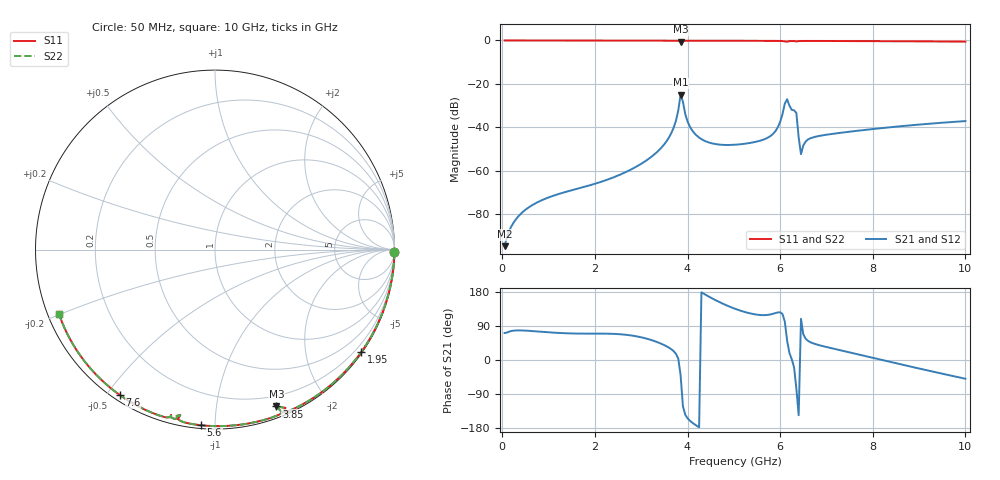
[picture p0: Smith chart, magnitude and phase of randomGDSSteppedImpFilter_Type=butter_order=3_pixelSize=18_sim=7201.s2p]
! freq	dB(S11)	phase(S11)	dB(S12)	phase(S12)
!  dB(S21)	phase(S21)	dB(S22)	phase(S22)
!S-par simulation data
#  GHz  S  DB  R 50
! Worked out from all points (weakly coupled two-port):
!   200 points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, 50 MHz to 10 GHz, reference 50 ohm
!   highest |S21| = -24.99 dB at 3.85 GHz (marker M1); lowest = -94.7 dB at 50 MHz (marker M2)
!   lowest |S11| = -0.6 dB at 3.85 GHz (marker M3), VSWR 31.58, Z = 4.97 - j73 ohm
!   |S11| at or under -10 dB: nowhere
!   |S22| runs from -0.6 to 0.0 dB; largest |S21 - S12| = 0
!   S11 on the Smith chart (normalised r, x): 50 MHz: open; 1.95 GHz: 0.03, -3.17; 3.85 GHz: 0.10, -1.46; 5.6 GHz: 0.02, -0.92; 7.6 GHz: 0.02, -0.54; 10 GHz: 0.03, -0.20
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0.05  -0.00 -0.9  -94.67 71.3  -94.67 71.3  -0.00 -0.9
0.4  -0.01 -7.3  -79.77 78.1  -79.77 78.1  -0.01 -7.3
1.75  -0.04 -31.5  -67.48 69.6  -67.48 69.6  -0.04 -31.5
1.95  -0.04 -35.0  -66.28 69.6  -66.28 69.6  -0.04 -35.0
2.8  -0.06 -49.7  -59.16 64.5  -59.16 64.5  -0.06 -49.7
3.4  -0.08 -59.8  -50.15 44.6  -50.15 44.6  -0.08 -59.9
3.7  -0.10 -65.2  -40.17 23.3  -40.17 23.3  -0.10 -65.2
3.8  -0.17 -67.6  -32.21 3.6  -32.21 3.6  -0.17 -67.6
3.85  -0.55 -68.6  -24.99 -39.7  -24.99 -39.7  -0.55 -68.6
4  -0.12 -68.7  -37.28 -153.8  -37.28 -153.8  -0.12 -68.7
4.2  -0.11 -72.3  -43.82 -173.8  -43.82 -173.8  -0.11 -72.3
5.05  -0.13 -85.9  -47.95 134.1  -47.95 134.1  -0.13 -85.9
5.6  -0.16 -94.5  -45.92 118.5  -45.92 118.5  -0.16 -94.5
5.9  -0.19 -99.3  -41.67 123.9  -41.67 123.9  -0.19 -99.3
6.15  -0.52 -101.8  -27.05 51.6  -27.05 51.6  -0.51 -101.9
6.35  -0.43 -104.9  -33.36 -75.1  -33.36 -75.1  -0.45 -104.9
6.45  -0.24 -105.9  -52.33 108.6  -52.33 108.6  -0.24 -105.9
6.55  -0.22 -107.7  -46.51 56.2  -46.51 56.2  -0.22 -107.7
6.7  -0.22 -110.1  -44.68 44.6  -44.68 44.6  -0.22 -110.1
7.6  -0.28 -123.2  -41.73 17.2  -41.73 17.2  -0.28 -123.2
8.35  -0.34 -133.9  -39.99 -4.2  -39.99 -4.2  -0.34 -133.9
10  -0.53 -157.5  -37.10 -49.5  -37.10 -49.5  -0.53 -157.5
